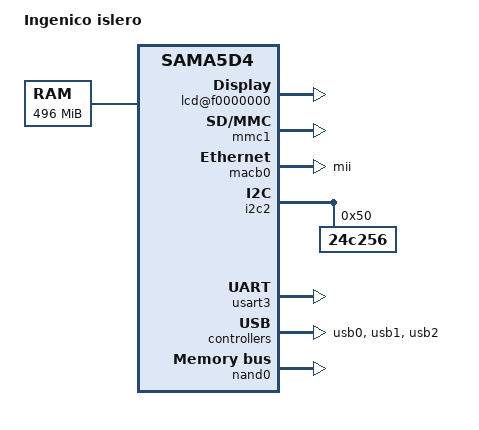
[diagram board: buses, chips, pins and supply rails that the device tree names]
/*
 * sama5d4ing.dts - Device Tree file for SAMA5D4 Ingenico devices
 *
 *  Copyright (C) 2013 Ingenico
 *
 * Licensed under GPLv2 or later.
 */
/dts-v1/;
#include "sama5d4.dtsi"

/ {
   model = "Ingenico islero";
   compatible = "atmel,sama5d4ing", "atmel,sama5d4", "atmel,sama5";

   chosen {
      /* the default cmdline for PROD FLASH version - Console is disable, kernel traces are 'quiet' */
      /* bootargs = "consoleblank=0 ubi.mtd=1 root=ubi0:ubifs-vol1 rootfstype=ubifs rootflags=bulk_read,chk_data_crc rootwait=1 noinitrd rw lpj=1241088 loglevel=3"; */
      
      /* the default cmdline for DEBUG FLASH version - Console is on */
       /* bootargs = "console=ttyS0,115200 consoleblank=0 ubi.mtd=1 root=ubi0:ubifs-vol1 rootfstype=ubifs rootflags=bulk_read,chk_data_crc rootwait=1 noinitrd rw lpj=1241088"; */

      /* the default cmdline for DEBUG NFS version */
      bootargs = "console=ttyS0,115200 consoleblank=0 root=/dev/nfs rw nfsroot=10.23.7.56:/home/production/nfs/nfsprXXXX ip=dhcp rootwait ing_security_mod=enable:0"; 
      
   };

	memory {
		reg = <0x21000000 0x1F000000>;
	};

	aliases {
		serial0 = &usart3;
/*		serial1 = &usart4;  *//* carte d'extension */
	};

	clocks {
		#address-cells = <1>;
		#size-cells = <1>;
		ranges;

		main_clock: clock@0 {
			compatible = "atmel,osc", "fixed-clock";
			clock-frequency = <12000000>;
		};
	};

	ahb {
		apb {
			lcd_bus@f0000000 {
				status = "okay";

				lcd@f0000000 {
					status = "okay";
				};

				lcdovl1@f0000140 {
					status = "okay";
				};

				lcdovl2@f0000240 {
					status = "disabled"; /* reserved for SecureOs */
				};

				lcdheo1@f0000340 {
					status = "okay";
				};
			};
			mmc1: mmc@fc000000 {
				pinctrl-names = "default";
				pinctrl-0 = <&pinctrl_mmc1_clk_cmd_dat0 &pinctrl_mmc1_dat1_3 >;
				status = "okay";
				slot@0 {
					reg = <0>;
					bus-width = <4>;
				};
			};

/*
			mmc0: mmc@f8000000 {
				pinctrl-names = "default";
				pinctrl-0 = <&pinctrl_mmc0_clk_cmd_dat0 &pinctrl_mmc0_dat1_3 &pinctrl_mmc0_cd>;
				status = "okay";
				slot@1 {
					reg = <1>;
					bus-width = <4>;
					cd-gpios = <&pioE 5 0>;
				};
			};
*/
			pinctrl@fc06a000 {
				pioA: gpio@fc06a000 {
					secure-pio;
				};
				pioB: gpio@fc06b000 {
					secure-pio;
				};
				pioC: gpio@fc06c000 {
					secure-pio;
				};
				pioE: gpio@fc06d000 {
					secure-pio;
				};
			};
			
			/* While TCB0 & TCB1 are used by SECURE-OS,
			   present only TCB2 for System tick usage */
			tcb0: timer@f801c000 {
				compatible = "nil";
			};
			tcb1: timer@fc020000 {
				compatible = "nil";
			};
			tcb2: timer@fc024000 {
				compatible = "atmel,at91sam9x5-tcbmmio";
				reg = <0xfc024000 0x100>;
				interrupts = <42 IRQ_TYPE_LEVEL_HIGH 0>;
			};

			macb0: ethernet@f8020000 {
			  local-mac-address = [00 03 81 96 3d 8e];
				phy-mode = "mii";
				pinctrl-names = "default";
				pinctrl-0 = <&pinctrl_macb0_mii>;
				status = "okay";
			};

			i2c2: i2c@f8024000 {
				status = "okay";

				24c256@50 {
					compatible = "24c256";
					reg = <0x50>;
					pagesize = <64>;
				};
			};

			usart3: serial@fc00c000 {
				status = "okay";
			};

/*
			usart4: serial@fc010000 {
				status = "okay";
			};
*/
			pinctrl@fc06a000 {
				board {
					pinctrl_usba_vbus: usba_vbus {
						atmel,pins =
							<AT91_PIOA 24 AT91_PERIPH_GPIO AT91_PINCTRL_DEGLITCH>;
					};
				};
			};
		};
		usb0: gadget@00400000 {
			atmel,vbus-gpio = <&pioA 24 GPIO_ACTIVE_HIGH>;
			pinctrl-names = "default";
			pinctrl-0 = <&pinctrl_usba_vbus>;
			status = "okay";
		};

		usb1: ohci@00500000 {
			num-ports = <3>;
			atmel,vbus-gpio = <0 /* &pioE 10 GPIO_ACTIVE_LOW */
					   0 /* &pioA 17 GPIO_ACTIVE_HIGH */
					   0 /* &pioA 17 GPIO_ACTIVE_HIGH */
					  >;
			status = "okay";
		};

		usb2: ehci@00600000 {
			status = "okay";
		};

		vdec0: vdec@00300000 {
			status = "okay";
		};

		nand0: nand@80000000 {
			nand-bus-width = <8>;
			nand-ecc-mode = "soft_bch";
			nand-on-flash-bbt;
			status = "okay";
			/* Hynix NAND 128MiB 3,3V 8-bit */
			/* 16 MiB */
			partition@0 {
				label = "secure world";
				reg = <0x0 0x1000000>;
			};
			/* the rest of the nand available */
			partition@1000000 {
				label = "rootfs";
				/*reg = <0x1000000 0x17000000>; */
				reg = <0x1000000 0x0>; 
			};
		};
	};
};

